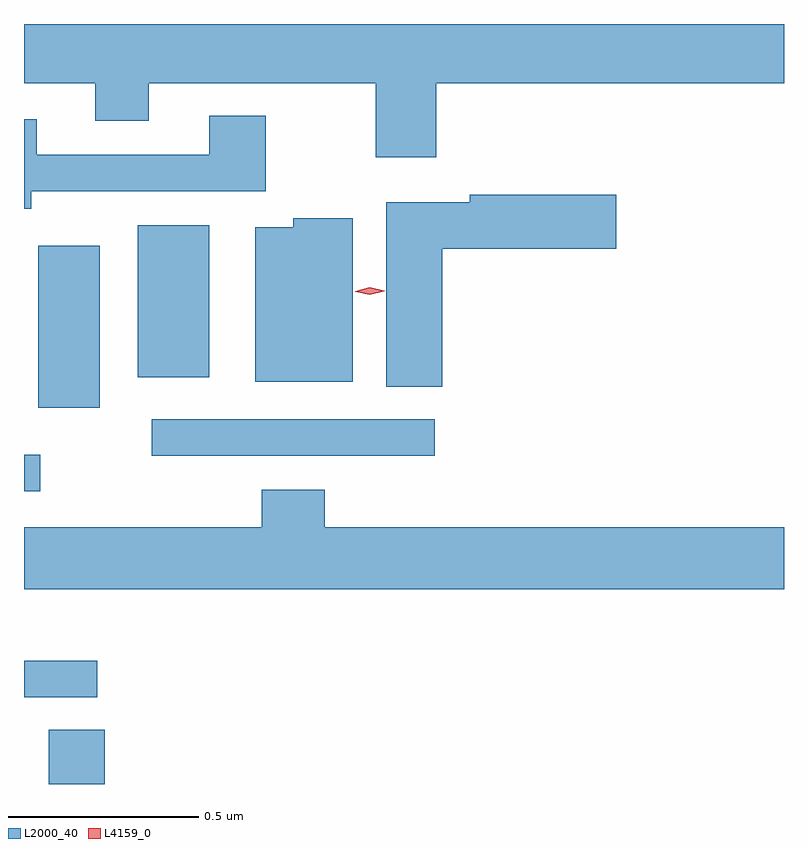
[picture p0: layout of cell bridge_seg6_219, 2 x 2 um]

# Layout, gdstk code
import gdstk
lib = gdstk.Library(unit=1e-6, precision=1e-09)
def R(c, l, rs):  # rectangles x0, y0, x1, y1
    for r in rs: c.add(gdstk.rectangle(r[:2], r[2:], *l))
def P(c, l, *ps):  # polygons
    for p in ps: c.add(gdstk.Polygon(p, *l))
L2000_40 = (2000, 40)
L4159_0 = (4159, 0)

bridge_seg6_219 = lib.new_cell('bridge_seg6_219')
R(bridge_seg6_219, L2000_40, [(133.382,954.816,133.529,954.959), (133.317,955.044,133.51,955.14), (133.317,955.587,133.36,955.683), (133.653,955.68,134.398,955.776), (133.355,955.806,133.516,956.233), (133.616,955.886,133.804,956.287)])
P(bridge_seg6_219, L2000_40, [(134.402,956.66),(135.317,956.66),(135.317,956.816),(133.317,956.816),(133.317,956.66),(133.505,956.66),(133.505,956.561),(133.645,956.561),(133.645,956.66),(134.242,956.66),(134.242,956.466),(134.402,956.466)],
  [(133.336,956.376),(133.953,956.376),(133.953,956.575),(133.805,956.575),(133.805,956.472),(133.351,956.472),(133.351,956.566),(133.317,956.566),(133.317,956.33),(133.336,956.33)],
  [(134.417,956.225),(134.875,956.225),(134.875,956.367),(134.49,956.367),(134.49,956.347),(134.27,956.347),(134.27,955.861),(134.417,955.861)],
  [(134.182,956.305),(134.025,956.305),(134.025,956.281),(133.925,956.281),(133.925,955.874),(134.182,955.874)],
  [(135.317,955.492),(134.108,955.492),(134.108,955.591),(133.943,955.591),(133.943,955.492),(133.317,955.492),(133.317,955.328),(135.317,955.328)])
P(bridge_seg6_219, L4159_0, [(134.227,956.103),(134.189,956.112),(134.189,956.113),(134.189,956.113),(134.227,956.123),(134.265,956.114),(134.266,956.114),(134.265,956.113)])

lib.write_gds('bridge_seg6_219.gds')
